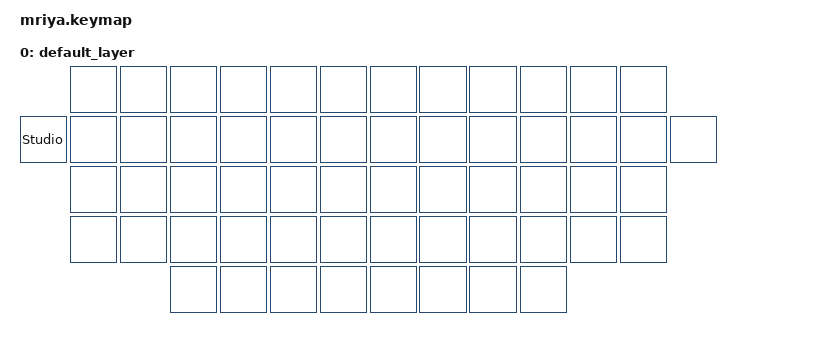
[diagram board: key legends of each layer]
#include <behaviors.dtsi>
#include <dt-bindings/zmk/keys.h>
#include <dt-bindings/zmk/bt.h>

&lt {
    quick_tap_ms = <200>;
};

&mt {
    quick_tap_ms = <200>;
};

/ {
    keymap {
        compatible = "zmk,keymap";

        default_layer {
            bindings = <
            &none         &none         &none         &none         &none         &none           &none         &none         &none         &none         &none        &none
     &studio_unlock  &none         &none         &none         &none         &none         &none           &none         &none         &none         &none         &none        &none  &none
            &none         &none         &none         &none         &none         &none           &none         &none         &none         &none         &none        &none
            &none         &none         &none         &none         &none         &none           &none         &none         &none         &none         &none        &none
                                        &none         &none         &none         &none           &none         &none         &none         &none
            >;
        };
    };
};
